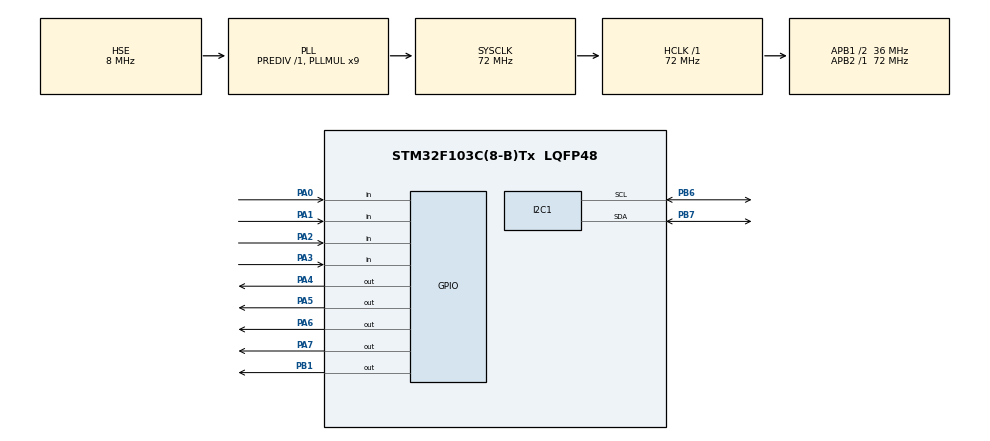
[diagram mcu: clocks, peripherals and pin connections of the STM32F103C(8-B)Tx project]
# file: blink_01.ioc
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I2C1.I2C_Mode=I2C_Fast
Mcu.Family=STM32F1
Mcu.Name=STM32F103C(8-B)Tx
Mcu.Package=LQFP48
NVIC.PriorityGroup=NVIC_PRIORITYGROUP_4
PA0-WKUP.Signal=GPIO_Input
PA1.Signal=GPIO_Input
PA13.Mode=Serial_Wire
PA13.Signal=SYS_JTMS-SWDIO
PA14.Mode=Serial_Wire
PA14.Signal=SYS_JTCK-SWCLK
PA2.Signal=GPIO_Input
PA3.Signal=GPIO_Input
PA4.Signal=GPIO_Output
PA5.Signal=GPIO_Output
PA6.Signal=GPIO_Output
PA7.Signal=GPIO_Output
PB1.Signal=GPIO_Output
PB6.Mode=I2C
PB6.Signal=I2C1_SCL
PB7.Mode=I2C
PB7.Signal=I2C1_SDA
PD0-OSC_IN.Mode=HSE-External-Oscillator
PD0-OSC_IN.Signal=RCC_OSC_IN
PD1-OSC_OUT.Mode=HSE-External-Oscillator
PD1-OSC_OUT.Signal=RCC_OSC_OUT
ProjectManager.HeapSize=0x200
ProjectManager.StackSize=0x400
ProjectManager.TargetToolchain=STM32CubeIDE
RCC.AHBFreq_Value=72000000
RCC.APB1CLKDivider=RCC_HCLK_DIV2
RCC.APB1Freq_Value=36000000
RCC.APB1TimFreq_Value=72000000
RCC.APB2Freq_Value=72000000
RCC.APB2TimFreq_Value=72000000
RCC.HCLKFreq_Value=72000000
RCC.PLLMUL=RCC_PLL_MUL9
RCC.PLLSourceVirtual=RCC_PLLSOURCE_HSE
RCC.SYSCLKFreq_VALUE=72000000
RCC.SYSCLKSource=RCC_SYSCLKSOURCE_PLLCLK
RCC.USBFreq_Value=72000000
board=custom

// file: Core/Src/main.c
/* USER CODE BEGIN Header */
/**
  ******************************************************************************
  * @file           : main.c
  * @brief          : Main program body
  ******************************************************************************
  * @attention
  *
  * Copyright (c) 2023 STMicroelectronics.
  * All rights reserved.
  *
  * This software is licensed under terms that can be found in the LICENSE file
  * in the root directory of this software component.
  * If no LICENSE file comes with this software, it is provided AS-IS.
  *
  ******************************************************************************
  */
/* USER CODE END Header */
#include "main.h"

/* USER CODE BEGIN Includes */
#include "fonts.h"
#include "ssd1306.h"
#include "test.h"
#include <stdint.h>
/* USER CODE END Includes */

/* USER CODE BEGIN PTD */

#define R1_PORT GPIOA
#define R1_PIN GPIO_PIN_7

#define R2_PORT GPIOA
#define R2_PIN GPIO_PIN_6

#define R3_PORT GPIOA
#define R3_PIN GPIO_PIN_5

#define R4_PORT GPIOA
#define R4_PIN GPIO_PIN_4

#define C1_PORT GPIOA
#define C1_PIN GPIO_PIN_3

#define C2_PORT GPIOA
#define C2_PIN GPIO_PIN_2

#define C3_PORT GPIOA
#define C3_PIN GPIO_PIN_1

#define C4_PORT GPIOA
#define C4_PIN GPIO_PIN_0

/* USER CODE END PTD */

I2C_HandleTypeDef hi2c1;

void SystemClock_Config(void);
static void MX_GPIO_Init(void);
static void MX_I2C1_Init(void);

/* USER CODE BEGIN 0 */

uint8_t key;

char read_keypad (void)
{
	/* Make ROW 1 LOW and all other ROWs HIGH */
	HAL_GPIO_WritePin (R1_PORT, R1_PIN, GPIO_PIN_RESET);  //Pull the R1 low
	HAL_GPIO_WritePin (R2_PORT, R2_PIN, GPIO_PIN_SET);  // Pull the R2 High
	HAL_GPIO_WritePin (R3_PORT, R3_PIN, GPIO_PIN_SET);  // Pull the R3 High
	HAL_GPIO_WritePin (R4_PORT, R4_PIN, GPIO_PIN_SET);  // Pull the R4 High

	if (!(HAL_GPIO_ReadPin (C1_PORT, C1_PIN)))   // if the Col 1 is low
	{
		while (!(HAL_GPIO_ReadPin (C1_PORT, C1_PIN)));   // wait till the button is pressed
		return '1';
	}

	if (!(HAL_GPIO_ReadPin (C2_PORT, C2_PIN)))   // if the Col 2 is low
	{
		while (!(HAL_GPIO_ReadPin (C2_PORT, C2_PIN)));   // wait till the button is pressed
		return '2';
	}

	if (!(HAL_GPIO_ReadPin (C3_PORT, C3_PIN)))   // if the Col 3 is low
	{
		while (!(HAL_GPIO_ReadPin (C3_PORT, C3_PIN)));   // wait till the button is pressed
		return '3';
	}

	if (!(HAL_GPIO_ReadPin (C4_PORT, C4_PIN)))   // if the Col 4 is low
	{
		while (!(HAL_GPIO_ReadPin (C4_PORT, C4_PIN)));   // wait till the button is pressed
		return 'A';
	}

	/* Make ROW 2 LOW and all other ROWs HIGH */
	HAL_GPIO_WritePin (R1_PORT, R1_PIN, GPIO_PIN_SET);  //Pull the R1 low
	HAL_GPIO_WritePin (R2_PORT, R2_PIN, GPIO_PIN_RESET);  // Pull the R2 High
	HAL_GPIO_WritePin (R3_PORT, R3_PIN, GPIO_PIN_SET);  // Pull the R3 High
	HAL_GPIO_WritePin (R4_PORT, R4_PIN, GPIO_PIN_SET);  // Pull the R4 High

	if (!(HAL_GPIO_ReadPin (C1_PORT, C1_PIN)))   // if the Col 1 is low
	{
		while (!(HAL_GPIO_ReadPin (C1_PORT, C1_PIN)));   // wait till the button is pressed
		return '4';
	}

	if (!(HAL_GPIO_ReadPin (C2_PORT, C2_PIN)))   // if the Col 2 is low
	{
		while (!(HAL_GPIO_ReadPin (C2_PORT, C2_PIN)));   // wait till the button is pressed
		return '5';
	}

	if (!(HAL_GPIO_ReadPin (C3_PORT, C3_PIN)))   // if the Col 3 is low
	{
		while (!(HAL_GPIO_ReadPin (C3_PORT, C3_PIN)));   // wait till the button is pressed
		return '6';
	}

	if (!(HAL_GPIO_ReadPin (C4_PORT, C4_PIN)))   // if the Col 4 is low
	{
		while (!(HAL_GPIO_ReadPin (C4_PORT, C4_PIN)));   // wait till the button is pressed
		return 'B';
	}

	/* Make ROW 3 LOW and all other ROWs HIGH */
	HAL_GPIO_WritePin (R1_PORT, R1_PIN, GPIO_PIN_SET);  //Pull the R1 low
	HAL_GPIO_WritePin (R2_PORT, R2_PIN, GPIO_PIN_SET);  // Pull the R2 High
	HAL_GPIO_WritePin (R3_PORT, R3_PIN, GPIO_PIN_RESET);  // Pull the R3 High
	HAL_GPIO_WritePin (R4_PORT, R4_PIN, GPIO_PIN_SET);  // Pull the R4 High

	if (!(HAL_GPIO_ReadPin (C1_PORT, C1_PIN)))   // if the Col 1 is low
	{
		while (!(HAL_GPIO_ReadPin (C1_PORT, C1_PIN)));   // wait till the button is pressed
		return '7';
	}

	if (!(HAL_GPIO_ReadPin (C2_PORT, C2_PIN)))   // if the Col 2 is low
	{
		while (!(HAL_GPIO_ReadPin (C2_PORT, C2_PIN)));   // wait till the button is pressed
		return '8';
	}

	if (!(HAL_GPIO_ReadPin (C3_PORT, C3_PIN)))   // if the Col 3 is low
	{
		while (!(HAL_GPIO_ReadPin (C3_PORT, C3_PIN)));   // wait till the button is pressed
		return '9';
	}

	if (!(HAL_GPIO_ReadPin (C4_PORT, C4_PIN)))   // if the Col 4 is low
	{
		while (!(HAL_GPIO_ReadPin (C4_PORT, C4_PIN)));   // wait till the button is pressed
		return 'C';
	}

	/* Make ROW 4 LOW and all other ROWs HIGH */
	HAL_GPIO_WritePin (R1_PORT, R1_PIN, GPIO_PIN_SET);  //Pull the R1 low
	HAL_GPIO_WritePin (R2_PORT, R2_PIN, GPIO_PIN_SET);  // Pull the R2 High
	HAL_GPIO_WritePin (R3_PORT, R3_PIN, GPIO_PIN_SET);  // Pull the R3 High
	HAL_GPIO_WritePin (R4_PORT, R4_PIN, GPIO_PIN_RESET);  // Pull the R4 High

	if (!(HAL_GPIO_ReadPin (C1_PORT, C1_PIN)))   // if the Col 1 is low
	{
		while (!(HAL_GPIO_ReadPin (C1_PORT, C1_PIN)));   // wait till the button is pressed
		return '*';
	}

	if (!(HAL_GPIO_ReadPin (C2_PORT, C2_PIN)))   // if the Col 2 is low
	{
		while (!(HAL_GPIO_ReadPin (C2_PORT, C2_PIN)));   // wait till the button is pressed
		return '0';
	}

	if (!(HAL_GPIO_ReadPin (C3_PORT, C3_PIN)))   // if the Col 3 is low
	{
		while (!(HAL_GPIO_ReadPin (C3_PORT, C3_PIN)));   // wait till the button is pressed
		return '#';
	}

	if (!(HAL_GPIO_ReadPin (C4_PORT, C4_PIN)))   // if the Col 4 is low
	{
		while (!(HAL_GPIO_ReadPin (C4_PORT, C4_PIN)));   // wait till the button is pressed
		return 'D';
	}

}

/* USER CODE END 0 */

int main(void)
{

  /* MCU Configuration--------------------------------------------------------*/

  /* Reset of all peripherals, Initializes the Flash interface and the Systick. */
  HAL_Init();

  /* Configure the system clock */
  SystemClock_Config();

  /* Initialize all configured peripherals */
  MX_GPIO_Init();
  MX_I2C1_Init();
  /* USER CODE BEGIN 2 */
  SSD1306_Init();  // initialise

    /// lets print some string

      SSD1306_GotoXY (0,0);
      SSD1306_Puts ("System", &Font_11x18, 1);
      SSD1306_GotoXY (10, 30);
      SSD1306_Puts ("  Startup :)", &Font_11x18, 1);
      SSD1306_UpdateScreen(); //display

      HAL_Delay (2000);

      SSD1306_ScrollRight(0,7);  // scroll entire screen
      HAL_Delay(2000);  // 2 sec

      SSD1306_ScrollLeft(0,7);  // scroll entire screen
      HAL_Delay(2000);  // 2 sec

      SSD1306_Stopscroll();
      SSD1306_Clear();

  /* USER CODE END 2 */

  /* Infinite loop */
  while (1)
  {

    /* USER CODE BEGIN 3 */
	  key = read_keypad ();

	  		if (key!=0x01)
	  		{
	  			SSD1306_GotoXY(0, 0);  // Set position on the display
	  			SSD1306_Putc(key, &Font_11x18, SSD1306_COLOR_WHITE); // Display the character at the current position
	  			SSD1306_UpdateScreen(); // Update the screen to show the changes

			  	HAL_Delay(500);  // 2 sec
			    SSD1306_Clear();

	  		}
  }
  /* USER CODE END 3 */
}

void SystemClock_Config(void)
{
  RCC_OscInitTypeDef RCC_OscInitStruct = {0};
  RCC_ClkInitTypeDef RCC_ClkInitStruct = {0};

  /** Initializes the RCC Oscillators according to the specified parameters
  * in the RCC_OscInitTypeDef structure.
  */
  RCC_OscInitStruct.OscillatorType = RCC_OSCILLATORTYPE_HSE;
  RCC_OscInitStruct.HSEState = RCC_HSE_ON;
  RCC_OscInitStruct.HSEPredivValue = RCC_HSE_PREDIV_DIV1;
  RCC_OscInitStruct.HSIState = RCC_HSI_ON;
  RCC_OscInitStruct.PLL.PLLState = RCC_PLL_ON;
  RCC_OscInitStruct.PLL.PLLSource = RCC_PLLSOURCE_HSE;
  RCC_OscInitStruct.PLL.PLLMUL = RCC_PLL_MUL9;
  if (HAL_RCC_OscConfig(&RCC_OscInitStruct) != HAL_OK)
  {
    Error_Handler();
  }

  /** Initializes the CPU, AHB and APB buses clocks
  */
  RCC_ClkInitStruct.ClockType = RCC_CLOCKTYPE_HCLK|RCC_CLOCKTYPE_SYSCLK
                              |RCC_CLOCKTYPE_PCLK1|RCC_CLOCKTYPE_PCLK2;
  RCC_ClkInitStruct.SYSCLKSource = RCC_SYSCLKSOURCE_PLLCLK;
  RCC_ClkInitStruct.AHBCLKDivider = RCC_SYSCLK_DIV1;
  RCC_ClkInitStruct.APB1CLKDivider = RCC_HCLK_DIV2;
  RCC_ClkInitStruct.APB2CLKDivider = RCC_HCLK_DIV1;

  if (HAL_RCC_ClockConfig(&RCC_ClkInitStruct, FLASH_LATENCY_2) != HAL_OK)
  {
    Error_Handler();
  }
}

static void MX_I2C1_Init(void)
{

  hi2c1.Instance = I2C1;
  hi2c1.Init.ClockSpeed = 400000;
  hi2c1.Init.DutyCycle = I2C_DUTYCYCLE_2;
  hi2c1.Init.OwnAddress1 = 0;
  hi2c1.Init.AddressingMode = I2C_ADDRESSINGMODE_7BIT;
  hi2c1.Init.DualAddressMode = I2C_DUALADDRESS_DISABLE;
  hi2c1.Init.OwnAddress2 = 0;
  hi2c1.Init.GeneralCallMode = I2C_GENERALCALL_DISABLE;
  hi2c1.Init.NoStretchMode = I2C_NOSTRETCH_DISABLE;
  if (HAL_I2C_Init(&hi2c1) != HAL_OK)
  {
    Error_Handler();
  }

}

static void MX_GPIO_Init(void)
{
  GPIO_InitTypeDef GPIO_InitStruct = {0};

  /* GPIO Ports Clock Enable */
  __HAL_RCC_GPIOD_CLK_ENABLE();
  __HAL_RCC_GPIOA_CLK_ENABLE();
  __HAL_RCC_GPIOB_CLK_ENABLE();

  /*Configure GPIO pin Output Level */
  HAL_GPIO_WritePin(GPIOA, GPIO_PIN_4|GPIO_PIN_5|GPIO_PIN_6|GPIO_PIN_7, GPIO_PIN_RESET);

  /*Configure GPIO pin Output Level */
  HAL_GPIO_WritePin(GPIOB, GPIO_PIN_1, GPIO_PIN_RESET);

  /*Configure GPIO pins : PA0 PA1 PA2 PA3 */
  GPIO_InitStruct.Pin = GPIO_PIN_0|GPIO_PIN_1|GPIO_PIN_2|GPIO_PIN_3;
  GPIO_InitStruct.Mode = GPIO_MODE_INPUT;
  GPIO_InitStruct.Pull = GPIO_NOPULL;
  HAL_GPIO_Init(GPIOA, &GPIO_InitStruct);

  /*Configure GPIO pins : PA4 PA5 PA6 PA7 */
  GPIO_InitStruct.Pin = GPIO_PIN_4|GPIO_PIN_5|GPIO_PIN_6|GPIO_PIN_7;
  GPIO_InitStruct.Mode = GPIO_MODE_OUTPUT_PP;
  GPIO_InitStruct.Pull = GPIO_NOPULL;
  GPIO_InitStruct.Speed = GPIO_SPEED_FREQ_LOW;
  HAL_GPIO_Init(GPIOA, &GPIO_InitStruct);

  /*Configure GPIO pin : PB1 */
  GPIO_InitStruct.Pin = GPIO_PIN_1;
  GPIO_InitStruct.Mode = GPIO_MODE_OUTPUT_PP;
  GPIO_InitStruct.Pull = GPIO_NOPULL;
  GPIO_InitStruct.Speed = GPIO_SPEED_FREQ_LOW;
  HAL_GPIO_Init(GPIOB, &GPIO_InitStruct);

}

void Error_Handler(void)
{
  __disable_irq();
  while (1)
  {
  }
}
